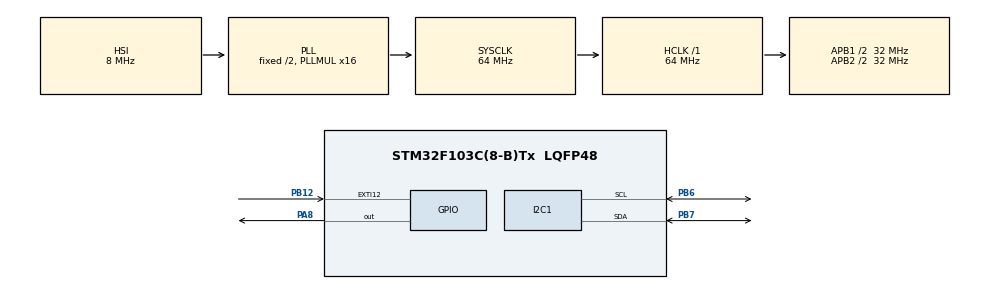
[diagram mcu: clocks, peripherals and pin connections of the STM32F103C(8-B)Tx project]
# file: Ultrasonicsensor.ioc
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Mcu.Family=STM32F1
Mcu.Name=STM32F103C(8-B)Tx
Mcu.Package=LQFP48
NVIC.EXTI15_10_IRQn=true\:0\:0\:false\:false\:true\:true\:true\:true
NVIC.PriorityGroup=NVIC_PRIORITYGROUP_4
NVIC.TIM1_UP_IRQn=true\:1\:0\:true\:false\:true\:true\:true\:true
PA13.Mode=Serial_Wire
PA13.Signal=SYS_JTMS-SWDIO
PA14.Mode=Serial_Wire
PA14.Signal=SYS_JTCK-SWCLK
PA8.Signal=GPIO_Output
PB12.GPIO_ModeDefaultEXTI=GPIO_MODE_IT_RISING_FALLING
PB12.GPIO_PuPd=GPIO_PULLUP
PB12.Signal=GPXTI12
PB6.Mode=I2C
PB6.Signal=I2C1_SCL
PB7.Mode=I2C
PB7.Signal=I2C1_SDA
PD0-OSC_IN.Mode=HSE-External-Oscillator
PD0-OSC_IN.Signal=RCC_OSC_IN
PD1-OSC_OUT.Mode=HSE-External-Oscillator
PD1-OSC_OUT.Signal=RCC_OSC_OUT
ProjectManager.HeapSize=0x200
ProjectManager.StackSize=0x400
ProjectManager.TargetToolchain=STM32CubeIDE
RCC.AHBFreq_Value=64000000
RCC.APB1CLKDivider=RCC_HCLK_DIV2
RCC.APB1Freq_Value=32000000
RCC.APB1TimFreq_Value=64000000
RCC.APB2CLKDivider=RCC_HCLK_DIV2
RCC.APB2Freq_Value=32000000
RCC.APB2TimFreq_Value=64000000
RCC.HCLKFreq_Value=64000000
RCC.PLLMUL=RCC_PLL_MUL16
RCC.SYSCLKFreq_VALUE=64000000
RCC.SYSCLKSource=RCC_SYSCLKSOURCE_PLLCLK
RCC.USBFreq_Value=64000000
TIM1.Period=65535
TIM1.Prescaler=63
VP_TIM1_VS_ClockSourceINT.Mode=Internal
board=custom

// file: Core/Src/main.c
/* USER CODE BEGIN Header */
/**
  ******************************************************************************
  * @file           : main.c
  * @brief          : Main program body
  ******************************************************************************
  * @attention
  *
  * Copyright (c) 2023 STMicroelectronics.
  * All rights reserved.
  *
  * This software is licensed under terms that can be found in the LICENSE file
  * in the root directory of this software component.
  * If no LICENSE file comes with this software, it is provided AS-IS.
  *
  ******************************************************************************
  */
/* USER CODE END Header */
#include "main.h"

/* USER CODE BEGIN Includes */
#include "I2C_LCD.h"
#include "stdio.h"
#include "hcsr04.h"
/* USER CODE END Includes */

/* USER CODE BEGIN PD */
#define MyI2C_LCD I2C_LCD_1

/* USER CODE END PD */

I2C_HandleTypeDef hi2c1;

TIM_HandleTypeDef htim1;

/* USER CODE BEGIN PV */
//uint32_t count1=0,count2=0;
//double value1=1,value2=-1;
/* USER CODE END PV */

void SystemClock_Config(void);
static void MX_GPIO_Init(void);
static void MX_TIM1_Init(void);
static void MX_I2C1_Init(void);

int main(void)
{

  /* MCU Configuration--------------------------------------------------------*/

  /* Reset of all peripherals, Initializes the Flash interface and the Systick. */
  HAL_Init();

  /* Configure the system clock */
  SystemClock_Config();

  /* Initialize all configured peripherals */
  MX_GPIO_Init();
  MX_TIM1_Init();
  MX_I2C1_Init();
  /* USER CODE BEGIN 2 */

  HCSR04_Init(&htim1);

  CoreDebug->DEMCR |= CoreDebug_DEMCR_TRCENA_Msk;
  DWT->CTRL |= DWT_CTRL_CYCCNTENA_Msk;

//  uint32_t t_get_hcsr04_hcsr04_distance=0;

  char buf[64];
  I2C_LCD_Init(MyI2C_LCD);
  I2C_LCD_SetCursor(MyI2C_LCD, 0, 0);
  I2C_LCD_WriteString(MyI2C_LCD, "Start...");

  /* USER CODE END 2 */

  /* Infinite loop */
  while (1)
  {

    /* USER CODE BEGIN 3 */
	  //Đo thời gian thực thi lệnh HCSR04_Start()
//	  uint32_t start = DWT->CYCCNT; // Lấy giá trị bắt đầu
	  if (hc04_state == HCSR04_IDLE_STATE) {
	      HCSR04_Start();
	  }
	  HCSR04_Handle();
//	  uint32_t end = DWT->CYCCNT;   // Lấy giá trị kết thúc

	  // Tính thời gian thực thi
//	  uint32_t elapsed_cycles = end - start;
//	  float time_us = (float)elapsed_cycles / (64000000  / 1000000); // thời gian tính bằng µs
//	  float time_ms = time_us / 1000;                            // thời gian tính bằng ms

	  // Hiển thị khoảng cách kèm đơn vị
	  uint32_t start = DWT->CYCCNT; // Lấy giá trị bắt đầu
	  I2C_LCD_Clear(MyI2C_LCD);
	  snprintf(buf, 64, "Dis: %.2f cm", hcsr04_distance); // Thêm "cm"
	  I2C_LCD_SetCursor(MyI2C_LCD, 0, 0);
	  I2C_LCD_WriteString(MyI2C_LCD, buf);
	  uint32_t end = DWT->CYCCNT;   // Lấy giá trị kết thúc
	  uint32_t elapsed_cycles = end - start;
	  float time_us = (float)elapsed_cycles / (64000000  / 1000000); // thời gian tính bằng µs
	  float time_ms = time_us / 1000;                            // thời gian tính bằng ms

	  // Hiển thị thời gian thực thi lệnh
	  snprintf(buf, 64, "t: %.2f us", time_us); // Hiển thị µs
	  // snprintf(buf, 64, "t: %.2f ms", time_ms); // Hiển thị ms nếu cần
	  I2C_LCD_SetCursor(MyI2C_LCD, 0, 1);
	  I2C_LCD_WriteString(MyI2C_LCD, buf);

	  HAL_Delay(300);
  }
  /* USER CODE END 3 */
}

void SystemClock_Config(void)
{
  RCC_OscInitTypeDef RCC_OscInitStruct = {0};
  RCC_ClkInitTypeDef RCC_ClkInitStruct = {0};

  /** Initializes the RCC Oscillators according to the specified parameters
  * in the RCC_OscInitTypeDef structure.
  */
  RCC_OscInitStruct.OscillatorType = RCC_OSCILLATORTYPE_HSI;
  RCC_OscInitStruct.HSIState = RCC_HSI_ON;
  RCC_OscInitStruct.HSICalibrationValue = RCC_HSICALIBRATION_DEFAULT;
  RCC_OscInitStruct.PLL.PLLState = RCC_PLL_ON;
  RCC_OscInitStruct.PLL.PLLSource = RCC_PLLSOURCE_HSI_DIV2;
  RCC_OscInitStruct.PLL.PLLMUL = RCC_PLL_MUL16;
  if (HAL_RCC_OscConfig(&RCC_OscInitStruct) != HAL_OK)
  {
    Error_Handler();
  }

  /** Initializes the CPU, AHB and APB buses clocks
  */
  RCC_ClkInitStruct.ClockType = RCC_CLOCKTYPE_HCLK|RCC_CLOCKTYPE_SYSCLK
                              |RCC_CLOCKTYPE_PCLK1|RCC_CLOCKTYPE_PCLK2;
  RCC_ClkInitStruct.SYSCLKSource = RCC_SYSCLKSOURCE_PLLCLK;
  RCC_ClkInitStruct.AHBCLKDivider = RCC_SYSCLK_DIV1;
  RCC_ClkInitStruct.APB1CLKDivider = RCC_HCLK_DIV2;
  RCC_ClkInitStruct.APB2CLKDivider = RCC_HCLK_DIV2;

  if (HAL_RCC_ClockConfig(&RCC_ClkInitStruct, FLASH_LATENCY_2) != HAL_OK)
  {
    Error_Handler();
  }
}

static void MX_I2C1_Init(void)
{

  hi2c1.Instance = I2C1;
  hi2c1.Init.ClockSpeed = 100000;
  hi2c1.Init.DutyCycle = I2C_DUTYCYCLE_2;
  hi2c1.Init.OwnAddress1 = 0;
  hi2c1.Init.AddressingMode = I2C_ADDRESSINGMODE_7BIT;
  hi2c1.Init.DualAddressMode = I2C_DUALADDRESS_DISABLE;
  hi2c1.Init.OwnAddress2 = 0;
  hi2c1.Init.GeneralCallMode = I2C_GENERALCALL_DISABLE;
  hi2c1.Init.NoStretchMode = I2C_NOSTRETCH_DISABLE;
  if (HAL_I2C_Init(&hi2c1) != HAL_OK)
  {
    Error_Handler();
  }

}

static void MX_TIM1_Init(void)
{

  TIM_ClockConfigTypeDef sClockSourceConfig = {0};
  TIM_MasterConfigTypeDef sMasterConfig = {0};

  htim1.Instance = TIM1;
  htim1.Init.Prescaler = 63;
  htim1.Init.CounterMode = TIM_COUNTERMODE_UP;
  htim1.Init.Period = 65535;
  htim1.Init.ClockDivision = TIM_CLOCKDIVISION_DIV1;
  htim1.Init.RepetitionCounter = 0;
  htim1.Init.AutoReloadPreload = TIM_AUTORELOAD_PRELOAD_DISABLE;
  if (HAL_TIM_Base_Init(&htim1) != HAL_OK)
  {
    Error_Handler();
  }
  sClockSourceConfig.ClockSource = TIM_CLOCKSOURCE_INTERNAL;
  if (HAL_TIM_ConfigClockSource(&htim1, &sClockSourceConfig) != HAL_OK)
  {
    Error_Handler();
  }
  sMasterConfig.MasterOutputTrigger = TIM_TRGO_RESET;
  sMasterConfig.MasterSlaveMode = TIM_MASTERSLAVEMODE_DISABLE;
  if (HAL_TIMEx_MasterConfigSynchronization(&htim1, &sMasterConfig) != HAL_OK)
  {
    Error_Handler();
  }

}

static void MX_GPIO_Init(void)
{
  GPIO_InitTypeDef GPIO_InitStruct = {0};

  /* GPIO Ports Clock Enable */
  __HAL_RCC_GPIOD_CLK_ENABLE();
  __HAL_RCC_GPIOB_CLK_ENABLE();
  __HAL_RCC_GPIOA_CLK_ENABLE();

  /*Configure GPIO pin Output Level */
  HAL_GPIO_WritePin(GPIOA, GPIO_PIN_8, GPIO_PIN_RESET);

  /*Configure GPIO pin : PB12 */
  GPIO_InitStruct.Pin = GPIO_PIN_12;
  GPIO_InitStruct.Mode = GPIO_MODE_IT_RISING_FALLING;
  GPIO_InitStruct.Pull = GPIO_PULLUP;
  HAL_GPIO_Init(GPIOB, &GPIO_InitStruct);

  /*Configure GPIO pin : PA8 */
  GPIO_InitStruct.Pin = GPIO_PIN_8;
  GPIO_InitStruct.Mode = GPIO_MODE_OUTPUT_PP;
  GPIO_InitStruct.Pull = GPIO_NOPULL;
  GPIO_InitStruct.Speed = GPIO_SPEED_FREQ_LOW;
  HAL_GPIO_Init(GPIOA, &GPIO_InitStruct);

  /* EXTI interrupt init*/
  HAL_NVIC_SetPriority(EXTI15_10_IRQn, 0, 0);
  HAL_NVIC_EnableIRQ(EXTI15_10_IRQn);

}

void Error_Handler(void)
{
  __disable_irq();
  while (1)
  {
  }
}
